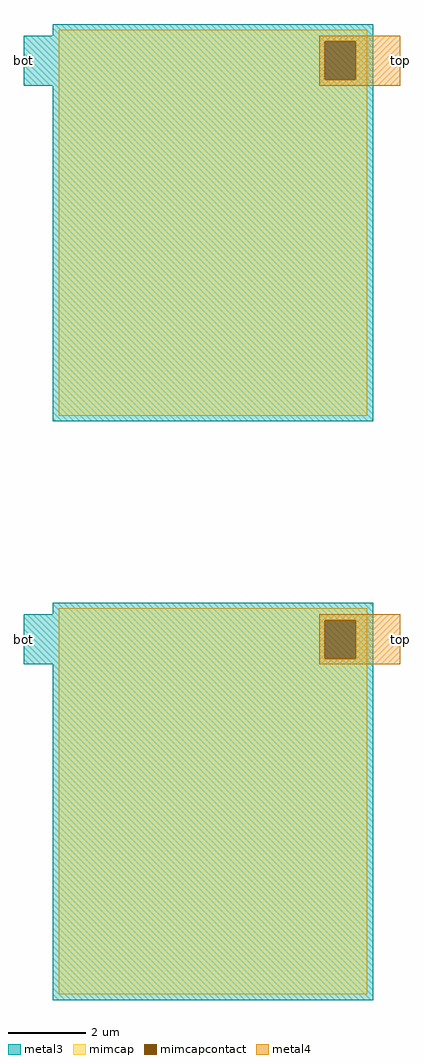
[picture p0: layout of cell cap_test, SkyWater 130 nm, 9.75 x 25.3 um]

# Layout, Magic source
magic
tech sky130A
<< metal3 >>
rect 700 3155 1530 3185
rect 625 3025 1530 3155
rect 700 2155 1530 3025
rect 700 1655 1530 1685
rect 625 1525 1530 1655
rect 700 655 1530 1525
<< mimcap >>
rect 715 3140 1515 3170
rect 715 3040 1405 3140
rect 1485 3040 1515 3140
rect 715 2170 1515 3040
rect 715 1640 1515 1670
rect 715 1540 1405 1640
rect 1485 1540 1515 1640
rect 715 670 1515 1540
<< mimcapcontact >>
rect 1405 3040 1485 3140
rect 1405 1540 1485 1640
<< metal4 >>
rect 1390 3140 1600 3155
rect 1390 3040 1405 3140
rect 1485 3040 1600 3140
rect 1390 3025 1600 3040
rect 1390 1640 1600 1655
rect 1390 1540 1405 1640
rect 1485 1540 1600 1640
rect 1390 1525 1600 1540
<< labels >>
rlabel metal3 625 1590 625 1590 7 bot
rlabel metal4 1600 1590 1600 1590 3 top
rlabel metal4 1600 3090 1600 3090 3 top
rlabel metal3 625 3090 625 3090 7 bot
<< end >>
